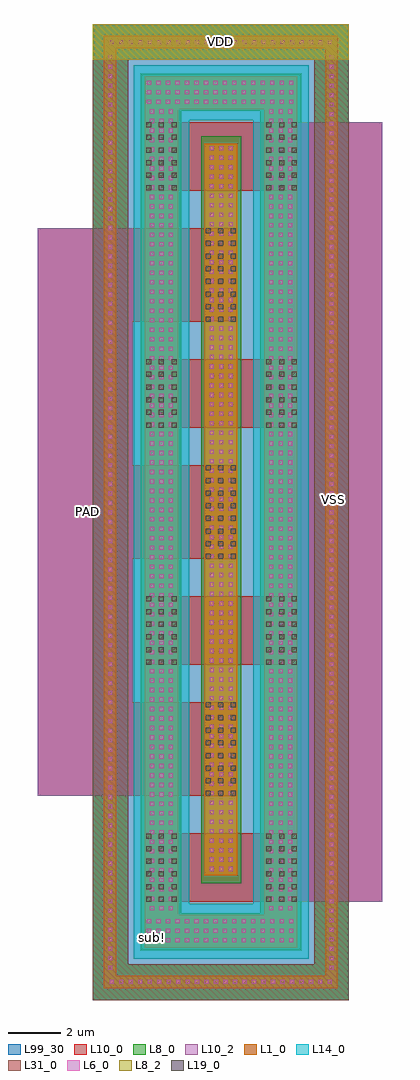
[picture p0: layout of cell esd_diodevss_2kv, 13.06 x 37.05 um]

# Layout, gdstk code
import gdstk
lib = gdstk.Library(unit=1e-6, precision=1e-09)
def R(c, l, rs):  # rectangles x0, y0, x1, y1
    for r in rs: c.add(gdstk.rectangle(r[:2], r[2:], *l))
def A(c, l, x, y, w, h, nx, ny, dx, dy):  # array of equal rectangles
    R(c, l, [(x+i*dx, y+j*dy, x+i*dx+w, y+j*dy+h) for i in range(nx) for j in range(ny)])
def P(c, l, *ps):  # polygons
    for p in ps: c.add(gdstk.Polygon(p, *l))
L1_0 = (1, 0)
L6_0 = (6, 0)
L8_0 = (8, 0)
L8_2 = (8, 2)
L10_0 = (10, 0)
L10_2 = (10, 2)
L14_0 = (14, 0)
L19_0 = (19, 0)
L31_0 = (31, 0)
L99_30 = (99, 30)

esd_diodevss_2kv = lib.new_cell('esd_diodevss_2kv')
R(esd_diodevss_2kv, L1_0, [(4.23,4.73,5.49,32.51)])
P(esd_diodevss_2kv, L1_0, [(1.98,1.98),(1.98,3.24),(6.51,3.24),(6.51,33.81),(3.24,33.81),(3.24,3.24),(1.98,3.24),(1.98,35.07),(7.77,35.07),(7.77,1.98)],
  [(0.42,0.45),(0.42,0.93),(8.82,0.93),(8.82,36.12),(0.9,36.12),(0.9,0.93),(0.42,0.93),(0.42,36.6),(9.3,36.6),(9.3,0.45)])
A(esd_diodevss_2kv, L6_0, 0.64, 0.61, 0.16, 0.16, 24, 2, 0.36, 35.67)
A(esd_diodevss_2kv, L6_0, 0.58, 1.145, 0.16, 0.16, 1, 97, 0, 0.36)
A(esd_diodevss_2kv, L6_0, 8.98, 1.145, 0.16, 0.16, 1, 97, 0, 0.36)
A(esd_diodevss_2kv, L6_0, 2.055, 2.19, 0.16, 0.16, 16, 3, 0.36, 0.36)
A(esd_diodevss_2kv, L6_0, 2.165, 3.405, 0.16, 0.16, 3, 85, 0.36, 0.36)
A(esd_diodevss_2kv, L6_0, 6.695, 3.405, 0.16, 0.16, 3, 85, 0.36, 0.36)
A(esd_diodevss_2kv, L6_0, 4.44, 4.89, 0.16, 0.16, 3, 77, 0.36, 0.36)
A(esd_diodevss_2kv, L6_0, 2.055, 34.02, 0.16, 0.16, 16, 3, 0.36, 0.36)
R(esd_diodevss_2kv, L8_0, [(4.11,4.43,5.64,32.78)])
P(esd_diodevss_2kv, L8_0, [(1.83,1.89),(1.83,3.3),(6.36,3.3),(6.36,33.75),(3.36,33.75),(3.36,3.3),(1.83,3.3),(1.83,35.16),(7.92,35.16),(7.92,1.89)],
  [(0,0),(0,1.35),(8.4,1.35),(8.4,35.7),(1.35,35.7),(1.35,1.35),(0,1.35),(0,37.05),(9.72,37.05),(9.72,0)])
R(esd_diodevss_2kv, L8_2, [(0,35.7,9.72,37.05)])
P(esd_diodevss_2kv, L10_0, [(4.235,7.74),(4.235,7.745),(-2.08,7.745),(-2.08,29.305),(5.3,29.305),(5.3,29.3),(5.485,29.3),(5.485,25.74),(4.235,25.74),(4.235,25.745),(1.52,25.745),(1.52,20.305),(5.3,20.305),(5.3,20.3),(5.485,20.3),(5.485,16.74),(4.235,16.74),(4.235,16.745),(1.52,16.745),(1.52,11.305),(5.3,11.305),(5.3,11.3),(5.485,11.3),(5.485,7.74)],
  [(1.98,3.725),(1.98,6.325),(7.38,6.325),(7.38,12.725),(1.98,12.725),(1.98,15.325),(7.38,15.325),(7.38,21.725),(1.98,21.725),(1.98,24.325),(7.38,24.325),(7.38,30.725),(1.98,30.725),(1.98,33.325),(10.98,33.325),(10.98,3.725)])
R(esd_diodevss_2kv, L10_2, [(7.38,3.725,10.98,33.325), (-2.08,7.745,1.52,29.305)])
P(esd_diodevss_2kv, L14_0, [(1.56,1.56),(1.56,3.66),(6.09,3.66),(6.09,33.39),(3.66,33.39),(3.66,3.66),(1.56,3.66),(1.56,35.49),(8.19,35.49),(8.19,1.56)])
A(esd_diodevss_2kv, L19_0, 2.03, 3.73, 0.19, 0.19, 3, 6, 0.48, 0.48)
A(esd_diodevss_2kv, L19_0, 6.59, 3.73, 0.19, 0.19, 3, 6, 0.48, 0.48)
A(esd_diodevss_2kv, L19_0, 4.285, 7.745, 0.19, 0.19, 3, 8, 0.48, 0.48)
A(esd_diodevss_2kv, L19_0, 2.03, 12.73, 0.19, 0.19, 3, 6, 0.48, 0.48)
A(esd_diodevss_2kv, L19_0, 6.59, 12.73, 0.19, 0.19, 3, 6, 0.48, 0.48)
A(esd_diodevss_2kv, L19_0, 4.285, 16.745, 0.19, 0.19, 3, 8, 0.48, 0.48)
A(esd_diodevss_2kv, L19_0, 2.03, 21.73, 0.19, 0.19, 3, 6, 0.48, 0.48)
A(esd_diodevss_2kv, L19_0, 6.59, 21.73, 0.19, 0.19, 3, 6, 0.48, 0.48)
A(esd_diodevss_2kv, L19_0, 4.285, 25.745, 0.19, 0.19, 3, 8, 0.48, 0.48)
A(esd_diodevss_2kv, L19_0, 2.03, 30.73, 0.19, 0.19, 3, 6, 0.48, 0.48)
A(esd_diodevss_2kv, L19_0, 6.59, 30.73, 0.19, 0.19, 3, 6, 0.48, 0.48)
P(esd_diodevss_2kv, L31_0, [(0,0),(0,1.35),(8.4,1.35),(8.4,35.7),(1.35,35.7),(1.35,1.35),(0,1.35),(0,37.05),(9.72,37.05),(9.72,0)])
R(esd_diodevss_2kv, L99_30, [(0,0,9.72,37.05)])
esd_diodevss_2kv.add(gdstk.Label('PAD', (-0.2,18.535), layer=63, texttype=0))
esd_diodevss_2kv.add(gdstk.Label('VSS', (9.15,18.99), layer=63, texttype=0))
esd_diodevss_2kv.add(gdstk.Label('VDD', (4.86,36.375), layer=63, texttype=0))
esd_diodevss_2kv.add(gdstk.Label('sub!', (2.285,2.385), layer=63, texttype=0))
esd_diodevss_2kv.add(gdstk.Label('VDD', (4.86,36.375), layer=8, texttype=25))
esd_diodevss_2kv.add(gdstk.Label('PAD', (-0.28,18.525), layer=10, texttype=25))
esd_diodevss_2kv.add(gdstk.Label('VSS', (9.18,18.525), layer=10, texttype=25))

lib.write_gds('esd_diodevss_2kv.gds')
